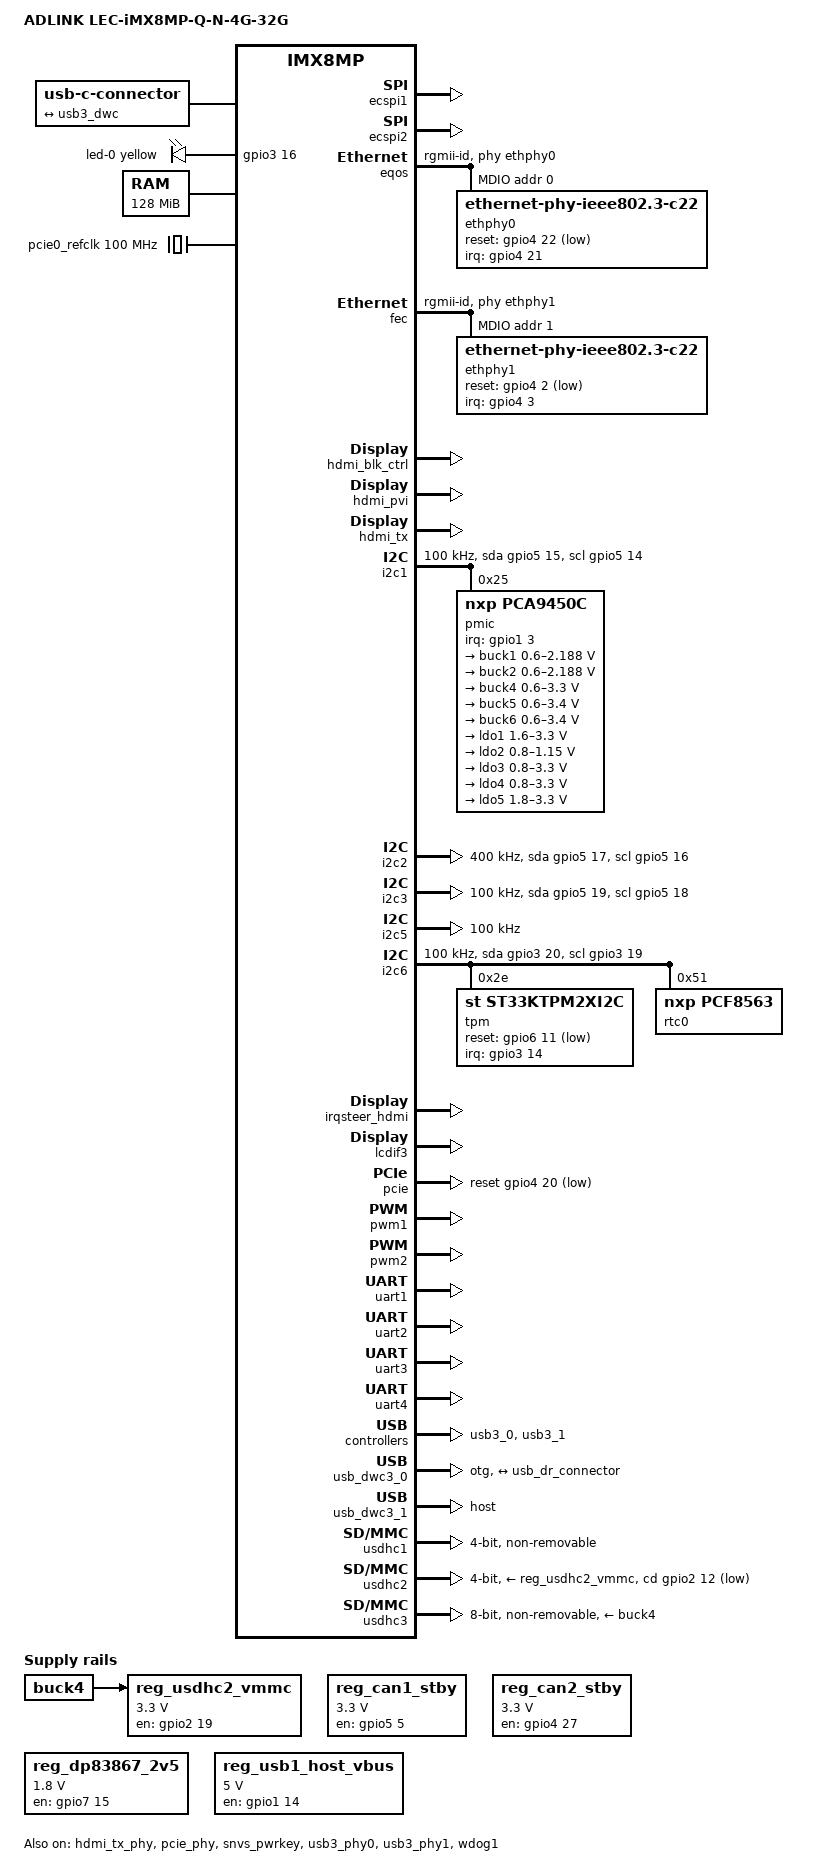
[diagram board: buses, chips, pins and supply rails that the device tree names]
// SPDX-License-Identifier: GPL-2.0
/*
 * Copyright (C) 2024 Heiko Schocher <hs@denx.de>
 */

#include <dt-bindings/leds/common.h>
#include <dt-bindings/net/ti-dp83867.h>
#include <dt-bindings/phy/phy-imx8-pcie.h>
#include <dt-bindings/pwm/pwm.h>
#include "imx8mp.dtsi"

/ {
	model = "ADLINK LEC-iMX8MP-Q-N-4G-32G";
	compatible = "abb,imx8mp-aristanetos3-som", "fsl,imx8mp";

	aliases {
		ethernet0 = &eqos;
		ethernet1 = &fec;
		mmc0 = &usdhc3;	/* eMMC */
		mmc1 = &usdhc2;	/* MicroSD */
	};

	chosen {
		bootargs = "console=ttymxc1,115200 earlycon=ec_imx6q,0x30890000,115200";
		stdout-path = &uart2;
	};

	connector {
		compatible = "usb-c-connector";
		label = "USB-C";

		port {
			usb_dr_connector: endpoint {
				remote-endpoint = <&usb3_dwc>;
			};
		};
	};

	gpio-leds {
		compatible = "gpio-leds";
		pinctrl-names = "default";
		pinctrl-0 = <&pinctrl_gpio_led>;

		led-0 {
			function = LED_FUNCTION_STATUS;
			color = <LED_COLOR_ID_YELLOW>;
			function-enumerator = <0>;
			gpios = <&gpio3 16 GPIO_ACTIVE_HIGH>;
			default-state = "on";
		};
	};

	lvds_backlight: backlight {
		compatible = "pwm-backlight";
		pinctrl-names = "default";
		pinctrl-0 = <&pinctrl_lvds_bklt_en>;
		pwms = <&pwm2 0 50000 0>;
		enable-gpios = <&gpio1 10 GPIO_ACTIVE_HIGH>;
		brightness-levels = <0 100>;
		num-interpolated-steps = <100>;
		default-brightness-level = <80>;
		status = "disabled";
	};

	memory@40000000 {
		device_type = "memory";
		/* Memory size 512 MiB..8 GiB will be filled by U-Boot */
		reg = <0x0 0x40000000 0 0x08000000>;
	};

	pcie0_refclk: clock-pcie-ref {
		compatible = "fixed-clock";
		#clock-cells = <0>;
		clock-frequency = <100000000>;
	};

	reg_can1_stby: regulator-can1-stby {
		compatible = "regulator-fixed";
		pinctrl-names = "default";
		pinctrl-0 = <&pinctrl_flexcan1_reg>;
		gpio = <&gpio5 5 GPIO_ACTIVE_HIGH>;
		enable-active-high;
		regulator-max-microvolt = <3300000>;
		regulator-min-microvolt = <3300000>;
		regulator-name = "can1-stby";
	};

	reg_can2_stby: regulator-can2-stby {
		compatible = "regulator-fixed";
		pinctrl-names = "default";
		pinctrl-0 = <&pinctrl_flexcan2_reg>;
		enable-active-high;
		gpio = <&gpio4 27 GPIO_ACTIVE_HIGH>;
		regulator-max-microvolt = <3300000>;
		regulator-min-microvolt = <3300000>;
		regulator-name = "can2-stby";
	};

	reg_dp83867_2v5: regulator-enet {
		compatible = "regulator-fixed";
		enable-active-high;
		gpio = <&gpio7 15 GPIO_ACTIVE_HIGH>;
		regulator-max-microvolt = <1800000>;
		regulator-min-microvolt = <1800000>;
		regulator-name = "enet_2v5";
		regulator-boot-on;
		regulator-always-on;
	};

	reg_usb1_host_vbus: regulator-usb1-vbus {
		compatible = "regulator-fixed";
		pinctrl-names = "default";
		pinctrl-0 = <&pinctrl_usb1_vbus>;
		enable-active-high;
		gpio = <&gpio1 14 GPIO_ACTIVE_HIGH>;
		regulator-max-microvolt = <5000000>;
		regulator-min-microvolt = <5000000>;
		regulator-name = "usb1_host_vbus";
		regulator-always-on;
	};

	reg_usdhc2_vmmc: regulator-usdhc2-vmmc {
		compatible = "regulator-fixed";
		pinctrl-names = "default";
		pinctrl-0 = <&pinctrl_usdhc2_vmmc>;
		enable-active-high;
		gpio = <&gpio2 19 GPIO_ACTIVE_HIGH>; /* SD2_RESET */
		regulator-max-microvolt = <3300000>;
		regulator-min-microvolt = <3300000>;
		regulator-name = "VDD_3V3_SD";
		off-on-delay-us = <12000>;
		startup-delay-us = <100>;
		vin-supply = <&buck4>;
	};
};

&A53_0 {
	cpu-supply = <&buck2>;
};

&A53_1 {
	cpu-supply = <&buck2>;
};

&A53_2 {
	cpu-supply = <&buck2>;
};

&A53_3 {
	cpu-supply = <&buck2>;
};

&clk {
	clocks = <&osc_32k>, <&osc_24m>, <&clk_ext1>, <&clk_ext2>,
		 <&clk_ext3>, <&clk_ext4>;
	clock-names = "osc_32k", "osc_24m", "clk_ext1", "clk_ext2",
		      "clk_ext3", "clk_ext4";
	assigned-clocks = <&clk IMX8MP_CLK_A53_SRC>,
			  <&clk IMX8MP_CLK_A53_CORE>,
			  <&clk IMX8MP_CLK_NOC>,
			  <&clk IMX8MP_CLK_NOC_IO>,
			  <&clk IMX8MP_CLK_GIC>,
			  <&clk IMX8MP_CLK_AUDIO_AHB>,
			  <&clk IMX8MP_CLK_AUDIO_AXI_SRC>,
			  <&clk IMX8MP_AUDIO_PLL1>,
			  <&clk IMX8MP_AUDIO_PLL2>,
			  <&clk IMX8MP_VIDEO_PLL1>;
};

&ecspi1 {
	pinctrl-names = "default";
	pinctrl-0 = <&pinctrl_ecspi1 &pinctrl_ecspi1_cs2>;
	cs-gpios = <&gpio5 9 GPIO_ACTIVE_LOW &gpio1 6 GPIO_ACTIVE_LOW>;
	status = "okay";
};

&ecspi2 {
	pinctrl-names = "default";
	pinctrl-0 = <&pinctrl_ecspi2>;
	cs-gpios = <&gpio5 13 GPIO_ACTIVE_LOW>;
	status = "okay";
};

/* eth0 */
&eqos {
	pinctrl-names = "default";
	pinctrl-0 = <&pinctrl_eqos_rgmii>;
	phy-handle = <&ethphy0>;
	phy-mode = "rgmii-id";
	snps,force_thresh_dma_mode;
	snps,mtl-tx-config = <&mtl_tx_setup>;
	snps,mtl-rx-config = <&mtl_rx_setup>;
	status = "okay";

	mdio {
		compatible = "snps,dwmac-mdio";
		#address-cells = <1>;
		#size-cells = <0>;

		ethphy0: eqos-ethernet-phy@0 {
			compatible = "ethernet-phy-ieee802.3-c22";
			reg = <0>;
			ti,rx-internal-delay = <DP83867_RGMIIDCTL_1_75_NS>;
			ti,tx-internal-delay = <DP83867_RGMIIDCTL_1_75_NS>;
			ti,fifo-depth = <DP83867_PHYCR_FIFO_DEPTH_4_B_NIB>;
			ti,min-output-impedance;
			ti,dp83867-rxctrl-strap-quirk;
			interrupt-parent = <&gpio4>;
			interrupts = <21 IRQ_TYPE_EDGE_FALLING>;
			reset-gpios = <&gpio4 22 GPIO_ACTIVE_LOW>;
		};
	};

	mtl_tx_setup: tx-queues-config {
		snps,tx-queues-to-use = <5>;

		queue0 {
			snps,dcb-algorithm;
			snps,priority = <0x1>;
		};

		queue1 {
			snps,dcb-algorithm;
			snps,priority = <0x2>;
		};

		queue2 {
			snps,dcb-algorithm;
			snps,priority = <0x4>;
		};

		queue3 {
			snps,dcb-algorithm;
			snps,priority = <0x8>;
		};

		queue4 {
			snps,dcb-algorithm;
			snps,priority = <0xf0>;
		};
	};

	mtl_rx_setup: rx-queues-config {
		snps,rx-queues-to-use = <5>;

		queue0 {
			snps,dcb-algorithm;
			snps,priority = <0x1>;
			snps,map-to-dma-channel = <0>;
		};

		queue1 {
			snps,dcb-algorithm;
			snps,priority = <0x2>;
			snps,map-to-dma-channel = <1>;
		};

		queue2 {
			snps,dcb-algorithm;
			snps,priority = <0x4>;
			snps,map-to-dma-channel = <2>;
		};

		queue3 {
			snps,dcb-algorithm;
			snps,priority = <0x8>;
			snps,map-to-dma-channel = <3>;
		};

		queue4 {
			snps,dcb-algorithm;
			snps,priority = <0xf0>;
			snps,map-to-dma-channel = <4>;
		};
	};
};

/* eth1 */
&fec {
	pinctrl-names = "default";
	pinctrl-0 = <&pinctrl_fec_rgmii>;
	phy-handle = <&ethphy1>;
	phy-mode = "rgmii-id";
	fsl,magic-packet;
	status = "okay";

	mdio {
		#address-cells = <1>;
		#size-cells = <0>;

		ethphy1: ethernet-phy@1 {
			compatible = "ethernet-phy-ieee802.3-c22";
			reg = <1>;
			interrupt-parent = <&gpio4>;
			interrupts = <3 IRQ_TYPE_EDGE_FALLING>;
			reset-gpio = <&gpio4 2 GPIO_ACTIVE_LOW>;
			ti,rx-internal-delay = <DP83867_RGMIIDCTL_1_75_NS>;
			ti,tx-internal-delay = <DP83867_RGMIIDCTL_1_75_NS>;
			ti,fifo-depth = <DP83867_PHYCR_FIFO_DEPTH_4_B_NIB>;
			ti,min-output-impedance;
			ti,dp83867-rxctrl-strap-quirk;
			eee-broken-1000t;
		};
	};
};

&flexcan1 {
	pinctrl-names = "default";
	pinctrl-0 = <&pinctrl_flexcan1>;
	xceiver-supply = <&reg_can1_stby>;
	status = "disabled";
};

&flexcan2 {
	pinctrl-names = "default";
	pinctrl-0 = <&pinctrl_flexcan2>;
	xceiver-supply = <&reg_can1_stby>;
	status = "disabled";
};

&hdmi_blk_ctrl {
	status = "okay";
};

&hdmi_pvi {
	status = "okay";
};

&hdmi_tx {
	pinctrl-names = "default";
	pinctrl-0 = <&pinctrl_hdmi>;
	status = "okay";
};

&hdmi_tx_phy {
	status = "okay";
};

&i2c1 {
	clock-frequency = <100000>;
	pinctrl-names = "default", "gpio";
	pinctrl-0 = <&pinctrl_i2c1>;
	pinctrl-1 = <&pinctrl_i2c1_gpio>;
	scl-gpios = <&gpio5 14 GPIO_ACTIVE_HIGH>;
	sda-gpios = <&gpio5 15 GPIO_ACTIVE_HIGH>;
	status = "okay";

	pmic: pmic@25 {
		compatible = "nxp,pca9450c";
		reg = <0x25>;
		pinctrl-names = "default";
		pinctrl-0 = <&pinctrl_pmic>;
		interrupt-parent = <&gpio1>;
		interrupts = <3 IRQ_TYPE_LEVEL_LOW>;

		/*
		 * i.MX 8M Plus Data Sheet for Consumer Products
		 * 3.1.4 Operating ranges
		 * MIMX8ML8CVNKZAB
		 */
		regulators {
			buck1: BUCK1 {	/* VDD_SOC (dual-phase with BUCK3) */
				regulator-name = "buck1";
				regulator-min-microvolt = <600000>;
				regulator-max-microvolt = <2187500>;
				regulator-ramp-delay = <3125>;
				regulator-always-on;
				regulator-boot-on;
			};

			buck2: BUCK2 {	/* VDD_ARM */
				regulator-name = "buck2";
				nxp,dvs-run-voltage = <950000>;
				nxp,dvs-standby-voltage = <850000>;
				regulator-min-microvolt = <600000>;
				regulator-max-microvolt = <2187500>;
				regulator-ramp-delay = <3125>;
				regulator-always-on;
				regulator-boot-on;
			};

			buck4: BUCK4 {	/* VDD_3V3 */
				regulator-name = "buck4";
				regulator-min-microvolt = <600000>;
				regulator-max-microvolt = <3300000>;
				regulator-always-on;
				regulator-boot-on;
			};

			buck5: BUCK5 {	/* VDD_1V8 */
				regulator-name = "buck5";
				regulator-min-microvolt = <600000>;
				regulator-max-microvolt = <3400000>;
				regulator-always-on;
				regulator-boot-on;
			};

			buck6: BUCK6 {	/* NVCC_DRAM_1V1 */
				regulator-name = "buck6";
				regulator-min-microvolt = <600000>;
				regulator-max-microvolt = <3400000>;
				regulator-always-on;
				regulator-boot-on;
			};

			ldo1: LDO1 {	/* NVCC_SNVS_1V8 */
				regulator-name = "ldo1";
				regulator-min-microvolt = <1600000>;
				regulator-max-microvolt = <3300000>;
				regulator-always-on;
				regulator-boot-on;
			};

			ldo2: LDO2 {	/* VDDA_1V8 */
				regulator-name = "ldo2";
				regulator-min-microvolt = <800000>;
				regulator-max-microvolt = <1150000>;
				regulator-always-on;
				regulator-boot-on;
			};

			ldo3: LDO3 {	/* VDDA_1V8 */
				regulator-name = "ldo3";
				regulator-min-microvolt = <800000>;
				regulator-max-microvolt = <3300000>;
				regulator-always-on;
				regulator-boot-on;
			};

			ldo4: LDO4 {	/* PMIC_LDO4 */
				regulator-name = "ldo4";
				regulator-min-microvolt = <800000>;
				regulator-max-microvolt = <3300000>;
				regulator-always-on;
				regulator-boot-on;
			};

			ldo5: LDO5 {	/* NVCC_SD2 */
				regulator-name = "ldo5";
				regulator-min-microvolt = <1800000>;
				regulator-max-microvolt = <3300000>;
			};
		};
	};
};

&i2c2 {
	clock-frequency = <400000>;
	pinctrl-names = "default", "gpio";
	pinctrl-0 = <&pinctrl_i2c2>;
	pinctrl-1 = <&pinctrl_i2c2_gpio>;
	scl-gpios = <&gpio5 16 GPIO_ACTIVE_HIGH>;
	sda-gpios = <&gpio5 17 GPIO_ACTIVE_HIGH>;
	status = "okay";
};

&i2c3 {
	clock-frequency = <100000>;
	pinctrl-names = "default", "gpio";
	pinctrl-0 = <&pinctrl_i2c3>;
	pinctrl-1 = <&pinctrl_i2c3_gpio>;
	scl-gpios = <&gpio5 18 GPIO_ACTIVE_HIGH>;
	sda-gpios = <&gpio5 19 GPIO_ACTIVE_HIGH>;
	status = "okay";
};

&i2c5 {
	#address-cells = <1>;
	clock-frequency = <100000>;
	pinctrl-names = "default";
	pinctrl-0 = <&pinctrl_i2c5>;
	status = "okay";
};

&i2c6 {
	clock-frequency = <100000>;
	pinctrl-names = "default", "gpio";
	pinctrl-0 = <&pinctrl_i2c6>;
	pinctrl-1 = <&pinctrl_i2c6_gpio>;
	scl-gpios = <&gpio3 19 GPIO_ACTIVE_HIGH>;
	sda-gpios = <&gpio3 20 GPIO_ACTIVE_HIGH>;
	status = "okay";

	/* TPM - ST33TPHF2XI2C U2301 */
	tpm: tpm@2e {
		pinctrl-names = "default";
		pinctrl-0 = <&pinctrl_tpm_irq>;
		compatible = "st,st33ktpm2xi2c", "tcg,tpm-tis-i2c";
		reg = <0x2e>;

		label = "tpm";
		interrupt-parent = <&gpio3>;
		interrupts = <14 IRQ_TYPE_LEVEL_LOW>;
		reset-gpios = <&gpio6 11 GPIO_ACTIVE_LOW>;
		status = "okay";
	};

	/* SX1509(0) U2605 */
	gpio6: pinctrl@3f {
		compatible = "semtech,sx1509q";
		reg = <0x3f>;
		#gpio-cells = <2>;
		#interrupt-cells = <2>;
		semtech,probe-reset;
		gpio-controller;
		interrupt-controller;
		interrupt-parent = <&gpio1>;
		interrupts = <12 IRQ_TYPE_EDGE_FALLING>;
	};

	/* RTC U2607 */
	rtc0: rtc@51 {
		compatible = "nxp,pcf8563";
		reg = <0x51>;
		#clock-cells = <0>;
	};

	/* SX1509(1) U2606 */
	gpio7: pinctrl@70 {
		compatible = "semtech,sx1509q";
		reg = <0x70>;
		#gpio-cells = <2>;
		#interrupt-cells = <2>;
		semtech,probe-reset;
		gpio-controller;
		interrupt-controller;
		interrupt-parent = <&gpio4>;
		interrupts = <19 IRQ_TYPE_EDGE_FALLING>;

		gpio6-cfg {
			pins = "gpio6";
			output-high;
		};

		gpio7-cfg {
			pins = "gpio7";
			output-high;
		};
	};
};

&irqsteer_hdmi {
	status = "okay";
};

&lcdif1 {
	status = "disabled";
};

&lcdif2 {
	status = "disabled";
};

/* HDMI */
&lcdif3 {
	status = "okay";

};

&lvds_bridge {
	status = "disabled";
};

&mipi_dsi {
	status = "disabled";
};

&pcie {
	pinctrl-names = "default";
	pinctrl-0 = <&pinctrl_pcie>;
	reset-gpio = <&gpio4 20 GPIO_ACTIVE_LOW>;
	fsl,tx-deemph-gen1 = <0x1f>;
	fsl,max-link-speed = <3>;
	status = "okay";
};

&pcie_phy {
	fsl,refclk-pad-mode = <IMX8_PCIE_REFCLK_PAD_INPUT>;
	clocks = <&pcie0_refclk>;
	clock-names = "ref";
	status = "okay";
};

&pwm1 {
	pinctrl-names = "default";
	pinctrl-0 = <&pinctrl_pwm1>;
	status = "okay";
};

&pwm2 {
	pinctrl-names = "default";
	pinctrl-0 = <&pinctrl_pwm2>;
	#pwm-cells = <3>;
	status = "okay";
};

&snvs_pwrkey {
	status = "okay";
};

&uart1 {
	pinctrl-names = "default";
	pinctrl-0 = <&pinctrl_uart1>;
	status = "okay";
};

&uart2 {
	pinctrl-names = "default";
	pinctrl-0 = <&pinctrl_uart2>;
	status = "okay";
};

&uart3 {
	pinctrl-names = "default";
	pinctrl-0 = <&pinctrl_uart3>;
	status = "okay";
};

&uart4 {
	pinctrl-names = "default";
	pinctrl-0 = <&pinctrl_uart4>;
	status = "okay";
};

&usb3_phy0 {
	status = "okay";
};

&usb3_0 {
	status = "okay";
};

&usb_dwc3_0 {
	adp-disable;
	hnp-disable;
	srp-disable;
	dr_mode = "otg";
	usb-role-switch;
	role-switch-default-mode = "peripheral";
	status = "okay";

	port {
		usb3_dwc: endpoint {
			remote-endpoint = <&usb_dr_connector>;
		};
	};
};

&usb3_phy1 {
	status = "okay";
};

&usb3_1 {
	status = "okay";
};

&usb_dwc3_1 {
	dr_mode = "host";
	status = "okay";
};

&usdhc1 {
	pinctrl-names = "default", "state_100mhz", "state_200mhz";
	pinctrl-0 = <&pinctrl_usdhc1>;
	pinctrl-1 = <&pinctrl_usdhc1_100mhz>;
	pinctrl-2 = <&pinctrl_usdhc1_200mhz>;
	bus-width = <4>;
	non-removable;
	status = "okay";
};

/* SD slot */
&usdhc2 {
	pinctrl-names = "default", "state_100mhz", "state_200mhz";
	pinctrl-0 = <&pinctrl_usdhc2>, <&pinctrl_usdhc2_gpio>;
	pinctrl-1 = <&pinctrl_usdhc2_100mhz>, <&pinctrl_usdhc2_gpio>;
	pinctrl-2 = <&pinctrl_usdhc2_200mhz>, <&pinctrl_usdhc2_gpio>;
	cd-gpios = <&gpio2 12 GPIO_ACTIVE_LOW>;
	vmmc-supply = <&reg_usdhc2_vmmc>;
	bus-width = <4>;
	status = "okay";
};

/* eMMC */
&usdhc3 {
	pinctrl-names = "default", "state_100mhz", "state_200mhz";
	pinctrl-0 = <&pinctrl_usdhc3>;
	pinctrl-1 = <&pinctrl_usdhc3_100mhz>;
	pinctrl-2 = <&pinctrl_usdhc3_200mhz>;
	vmmc-supply = <&buck4>;
	vqmmc-supply = <&buck5>;
	bus-width = <8>;
	non-removable;
	status = "okay";
};

&wdog1 {
	pinctrl-names = "default";
	pinctrl-0 = <&pinctrl_wdog>;
	fsl,ext-reset-output;
	status = "okay";
};

&iomuxc {
	pinctrl_ecspi1: aristainetos3-ecspi1-grp {
		fsl,pins = <
			MX8MP_IOMUXC_ECSPI1_SCLK__ECSPI1_SCLK		0x82
			MX8MP_IOMUXC_ECSPI1_MOSI__ECSPI1_MOSI		0x82
			MX8MP_IOMUXC_ECSPI1_MISO__ECSPI1_MISO		0x82
			MX8MP_IOMUXC_ECSPI1_SS0__GPIO5_IO09		0x40000
		>;
	};

	pinctrl_ecspi1_cs2: aristainetos3-ecspi1-cs2-grp {
		fsl,pins = <
			MX8MP_IOMUXC_GPIO1_IO06__GPIO1_IO06		0x40000
		>;
	};

	pinctrl_ecspi2: aristainetos3-ecspi2-grp {
		fsl,pins = <
			MX8MP_IOMUXC_ECSPI2_SCLK__ECSPI2_SCLK		0x82
			MX8MP_IOMUXC_ECSPI2_MOSI__ECSPI2_MOSI		0x82
			MX8MP_IOMUXC_ECSPI2_MISO__ECSPI2_MISO		0x82
			MX8MP_IOMUXC_ECSPI2_SS0__GPIO5_IO13		0x40000
		>;
	};

	pinctrl_eqos_rgmii: aristainetos3-eqos-rgmii-grp {
		fsl,pins = <
			MX8MP_IOMUXC_ENET_MDC__ENET_QOS_MDC				0x3
			MX8MP_IOMUXC_ENET_MDIO__ENET_QOS_MDIO				0x3
			MX8MP_IOMUXC_ENET_RD0__ENET_QOS_RGMII_RD0			0x91
			MX8MP_IOMUXC_ENET_RD1__ENET_QOS_RGMII_RD1			0x91
			MX8MP_IOMUXC_ENET_RD2__ENET_QOS_RGMII_RD2			0x91
			MX8MP_IOMUXC_ENET_RD3__ENET_QOS_RGMII_RD3			0x91
			MX8MP_IOMUXC_ENET_RXC__CCM_ENET_QOS_CLOCK_GENERATE_RX_CLK	0x91
			MX8MP_IOMUXC_ENET_RX_CTL__ENET_QOS_RGMII_RX_CTL			0x91
			MX8MP_IOMUXC_ENET_TD0__ENET_QOS_RGMII_TD0			0x1f
			MX8MP_IOMUXC_ENET_TD1__ENET_QOS_RGMII_TD1			0x1f
			MX8MP_IOMUXC_ENET_TD2__ENET_QOS_RGMII_TD2			0x1f
			MX8MP_IOMUXC_ENET_TD3__ENET_QOS_RGMII_TD3			0x1f
			MX8MP_IOMUXC_ENET_TX_CTL__ENET_QOS_RGMII_TX_CTL			0x1f
			MX8MP_IOMUXC_ENET_TXC__CCM_ENET_QOS_CLOCK_GENERATE_TX_CLK	0x1f
			MX8MP_IOMUXC_SAI2_RXC__GPIO4_IO22				0x19
		>;
	};

	pinctrl_fec_rgmii: aristainetos3-fec-rgmii-grp {
		fsl,pins = <
			MX8MP_IOMUXC_SAI1_RXD2__ENET1_MDC		0x3
			MX8MP_IOMUXC_SAI1_RXD3__ENET1_MDIO		0x3
			MX8MP_IOMUXC_SAI1_RXD4__ENET1_RGMII_RD0		0x91
			MX8MP_IOMUXC_SAI1_RXD5__ENET1_RGMII_RD1		0x91
			MX8MP_IOMUXC_SAI1_RXD6__ENET1_RGMII_RD2		0x91
			MX8MP_IOMUXC_SAI1_RXD7__ENET1_RGMII_RD3		0x91
			MX8MP_IOMUXC_SAI1_TXC__ENET1_RGMII_RXC		0x91
			MX8MP_IOMUXC_SAI1_TXFS__ENET1_RGMII_RX_CTL	0x91
			MX8MP_IOMUXC_SAI1_TXD0__ENET1_RGMII_TD0		0x1f
			MX8MP_IOMUXC_SAI1_TXD1__ENET1_RGMII_TD1		0x1f
			MX8MP_IOMUXC_SAI1_TXD2__ENET1_RGMII_TD2		0x1f
			MX8MP_IOMUXC_SAI1_TXD3__ENET1_RGMII_TD3		0x1f
			MX8MP_IOMUXC_SAI1_TXD4__ENET1_RGMII_TX_CTL	0x1f
			MX8MP_IOMUXC_SAI1_TXD5__ENET1_RGMII_TXC		0x1f
			MX8MP_IOMUXC_SAI1_RXD0__GPIO4_IO02		0x19
		>;
	};

	pinctrl_flexcan1: aristainetos3-flexcan1-grp {
		fsl,pins = <
			MX8MP_IOMUXC_SPDIF_RX__CAN1_RX			0x154
			MX8MP_IOMUXC_SPDIF_TX__CAN1_TX			0x154
		>;
	};

	pinctrl_flexcan1_reg: aristainetos3-flexcan1-reg-grp {
		fsl,pins = <
			MX8MP_IOMUXC_SPDIF_EXT_CLK__GPIO5_IO05  0x154
		>;
	};

	pinctrl_flexcan2: aristainetos3-flexcan2-grp {
		fsl,pins = <
			MX8MP_IOMUXC_SAI5_MCLK__CAN2_RX         0x154
			MX8MP_IOMUXC_SAI5_RXD3__CAN2_TX         0x154
		>;
	};

	pinctrl_flexcan2_reg: aristainetos3-flexcan2-reg-grp {
		fsl,pins = <
			MX8MP_IOMUXC_SAI2_MCLK__GPIO4_IO27      0x154
		>;
	};

	pinctrl_gpio3_hog: aristainetos3-gpio3-hog-grp {
		fsl,pins = <
			MX8MP_IOMUXC_SAI5_RXD2__GPIO3_IO23	0xd6
		>;
	};

	pinctrl_gpio_led: aristainetos3-gpio-led-grp {
		fsl,pins = <
			MX8MP_IOMUXC_NAND_READY_B__GPIO3_IO16	0x19
		>;
	};

	pinctrl_gpio_proton2s: aristainetos3-gpio-proton2s-grp {
		fsl,pins = <
			MX8MP_IOMUXC_GPIO1_IO07__GPIO1_IO07	0x19
		>;
	};

	pinctrl_hdmi: aristainetos3-hdmi-grp {
		fsl,pins = <
			MX8MP_IOMUXC_HDMI_DDC_SCL__HDMIMIX_HDMI_SCL	0x400001c3
			MX8MP_IOMUXC_HDMI_DDC_SDA__HDMIMIX_HDMI_SDA	0x400001c3
			MX8MP_IOMUXC_HDMI_HPD__HDMIMIX_HDMI_HPD		0x40000019
			MX8MP_IOMUXC_HDMI_CEC__HDMIMIX_HDMI_CEC		0x40000019
		>;
	};

	pinctrl_i2c1: aristainetos3-i2c1-grp {
		fsl,pins = <
			MX8MP_IOMUXC_I2C1_SCL__I2C1_SCL		0x400001c3
			MX8MP_IOMUXC_I2C1_SDA__I2C1_SDA		0x400001c3
		>;
	};

	pinctrl_i2c1_gpio: aristainetos3-i2c1-gpio-grp {
		fsl,pins = <
			MX8MP_IOMUXC_I2C1_SCL__GPIO5_IO14	0x1c3
			MX8MP_IOMUXC_I2C1_SDA__GPIO5_IO15	0x1c3
		>;
	};

	pinctrl_i2c2: aristainetos3-i2c2-grp {
		fsl,pins = <
			MX8MP_IOMUXC_I2C2_SCL__I2C2_SCL		0x400001c3
			MX8MP_IOMUXC_I2C2_SDA__I2C2_SDA		0x400001c3
		>;
	};

	pinctrl_i2c2_gpio: aristainetos3-i2c2-gpio-grp {
		fsl,pins = <
			MX8MP_IOMUXC_I2C2_SCL__GPIO5_IO16	0x1c3
			MX8MP_IOMUXC_I2C2_SDA__GPIO5_IO17	0x1c3
		>;
	};

	pinctrl_i2c3: aristainetos3-i2c3-grp {
		fsl,pins = <
			MX8MP_IOMUXC_I2C3_SCL__I2C3_SCL		0x400001c3
			MX8MP_IOMUXC_I2C3_SDA__I2C3_SDA		0x400001c3
		>;
	};

	pinctrl_i2c3_gpio: aristainetos3-i2c3-gpio-grp {
		fsl,pins = <
			MX8MP_IOMUXC_I2C3_SCL__GPIO5_IO18	0x1c3
			MX8MP_IOMUXC_I2C3_SDA__GPIO5_IO19	0x1c3
		>;
	};

	pinctrl_i2c5: aristainetos3-i2c5-grp {
		fsl,pins = <
			MX8MP_IOMUXC_SAI5_RXD0__I2C5_SCL	0x400001c3
			MX8MP_IOMUXC_SAI5_MCLK__I2C5_SDA	0x400001c3
		>;
	};

	pinctrl_i2c6: aristainetos3-i2c6-grp {
		fsl,pins = <
			MX8MP_IOMUXC_SAI5_RXFS__I2C6_SCL	0x400001c3
			MX8MP_IOMUXC_SAI5_RXC__I2C6_SDA		0x400001c3
		>;
	};

	pinctrl_i2c6_gpio: aristainetos3-i2c6-gpio-grp {
		fsl,pins = <
			MX8MP_IOMUXC_SAI5_RXFS__GPIO3_IO19	0x1c3
			MX8MP_IOMUXC_SAI5_RXC__GPIO3_IO20	0x1c3
		>;
	};

	pinctrl_lcd0_vcc_en: aristainetos3-lcd0-vcc-en-grp {
		fsl,pins = <
			MX8MP_IOMUXC_GPIO1_IO13__GPIO1_IO13	0xd6
		>;
	};

	pinctrl_lvds_bklt_en: aristainetos3-lvds-bklt-en-grp {
		fsl,pins = <
			MX8MP_IOMUXC_GPIO1_IO10__GPIO1_IO10	0xd6
		>;
	};

	pinctrl_pcie: aristainetos3-pcie-grp {
		fsl,pins = <
			MX8MP_IOMUXC_I2C4_SCL__PCIE_CLKREQ_B	0x61
			MX8MP_IOMUXC_SAI1_MCLK__GPIO4_IO20	0x41
		>;
	};

	pinctrl_pmic: aristainetos3-pmic-grp {
		fsl,pins = <
			MX8MP_IOMUXC_GPIO1_IO03__GPIO1_IO03	0x41
		>;
	};

	pinctrl_pwm1: aristainetos3-pwm1-grp {
		fsl,pins = <
			MX8MP_IOMUXC_GPIO1_IO01__PWM1_OUT	0x116
		>;
	};

	pinctrl_pwm2: aristainetos3-pwm2-grp {
		fsl,pins = <
			MX8MP_IOMUXC_GPIO1_IO11__PWM2_OUT	0x116
		>;
	};

	pinctrl_tpm_irq: aristainetos3-tpm-irq-grp {
		fsl,pins = <
			MX8MP_IOMUXC_NAND_DQS__GPIO3_IO14	0xd6
		>;
	};

	pinctrl_uart1: aristainetos3-uart1-grp {
		fsl,pins = <
			MX8MP_IOMUXC_UART1_RXD__UART1_DCE_RX	0x140
			MX8MP_IOMUXC_UART1_TXD__UART1_DCE_TX	0x140
		>;
	};

	pinctrl_uart2: aristainetos3-uart2-grp {
		fsl,pins = <
			MX8MP_IOMUXC_UART2_RXD__UART2_DCE_RX	0x140
			MX8MP_IOMUXC_UART2_TXD__UART2_DCE_TX	0x140
			MX8MP_IOMUXC_SD1_DATA4__GPIO2_IO06	0x140
			MX8MP_IOMUXC_SD1_DATA5__UART2_DCE_CTS	0x140
		>;
	};

	pinctrl_uart3: aristainetos3-uart3-grp {
		fsl,pins = <
			MX8MP_IOMUXC_NAND_ALE__UART3_DCE_RX	0x140
			MX8MP_IOMUXC_NAND_CE0_B__UART3_DCE_TX	0x140
		>;
	};

	pinctrl_uart4: aristainetos3-uart4-grp {
		fsl,pins = <
			MX8MP_IOMUXC_UART4_RXD__UART4_DCE_RX    0x140
			MX8MP_IOMUXC_UART4_TXD__UART4_DCE_TX    0x140
			MX8MP_IOMUXC_NAND_DATA03__GPIO3_IO09	0x140
			MX8MP_IOMUXC_NAND_DATA02__UART4_DCE_CTS 0x140
		>;
	};

	pinctrl_usb1_vbus: aristainetos3-usb1-grp {
		fsl,pins = <
			MX8MP_IOMUXC_GPIO1_IO14__GPIO1_IO14	0x19
		>;
	};

	pinctrl_usdhc1: aristainetos3-usdhc1-grp {
		fsl,pins = <
			MX8MP_IOMUXC_SD1_CLK__USDHC1_CLK	0x190
			MX8MP_IOMUXC_SD1_CMD__USDHC1_CMD	0x1d0
			MX8MP_IOMUXC_SD1_DATA0__USDHC1_DATA0	0x1d0
			MX8MP_IOMUXC_SD1_DATA1__USDHC1_DATA1	0x1d0
			MX8MP_IOMUXC_SD1_DATA2__USDHC1_DATA2	0x1d0
			MX8MP_IOMUXC_SD1_DATA3__USDHC1_DATA3	0x1d0
		>;
	};

	pinctrl_usdhc1_100mhz: aristainetos3-usdhc1-100mhz-grp {
		fsl,pins = <
			MX8MP_IOMUXC_SD1_CLK__USDHC1_CLK	0x194
			MX8MP_IOMUXC_SD1_CMD__USDHC1_CMD	0x1d4
			MX8MP_IOMUXC_SD1_DATA0__USDHC1_DATA0	0x1d4
			MX8MP_IOMUXC_SD1_DATA1__USDHC1_DATA1	0x1d4
			MX8MP_IOMUXC_SD1_DATA2__USDHC1_DATA2	0x1d4
			MX8MP_IOMUXC_SD1_DATA3__USDHC1_DATA3	0x1d4
		>;
	};

	pinctrl_usdhc1_200mhz: aristainetos3-usdhc1-200mhz-grp {
		fsl,pins = <
			MX8MP_IOMUXC_SD1_CLK__USDHC1_CLK	0x196
			MX8MP_IOMUXC_SD1_CMD__USDHC1_CMD	0x1d6
			MX8MP_IOMUXC_SD1_DATA0__USDHC1_DATA0	0x1d6
			MX8MP_IOMUXC_SD1_DATA1__USDHC1_DATA1	0x1d6
			MX8MP_IOMUXC_SD1_DATA2__USDHC1_DATA2	0x1d6
			MX8MP_IOMUXC_SD1_DATA3__USDHC1_DATA3	0x1d6
		>;
	};

	pinctrl_usdhc2: aristainetos3-usdhc2-grp {
		fsl,pins = <
			MX8MP_IOMUXC_SD2_CLK__USDHC2_CLK	0x190
			MX8MP_IOMUXC_SD2_CMD__USDHC2_CMD	0x1d0
			MX8MP_IOMUXC_SD2_DATA0__USDHC2_DATA0	0x1d0
			MX8MP_IOMUXC_SD2_DATA1__USDHC2_DATA1	0x1d0
			MX8MP_IOMUXC_SD2_DATA2__USDHC2_DATA2	0x1d0
			MX8MP_IOMUXC_SD2_DATA3__USDHC2_DATA3	0x1d0
			MX8MP_IOMUXC_GPIO1_IO04__USDHC2_VSELECT	0xc1

		>;
	};

	pinctrl_usdhc2_100mhz: aristainetos3-usdhc2-100mhz-grp {
		fsl,pins = <
			MX8MP_IOMUXC_SD2_CLK__USDHC2_CLK	0x194
			MX8MP_IOMUXC_SD2_CMD__USDHC2_CMD	0x1d4
			MX8MP_IOMUXC_SD2_DATA0__USDHC2_DATA0	0x1d4
			MX8MP_IOMUXC_SD2_DATA1__USDHC2_DATA1	0x1d4
			MX8MP_IOMUXC_SD2_DATA2__USDHC2_DATA2	0x1d4
			MX8MP_IOMUXC_SD2_DATA3__USDHC2_DATA3	0x1d4
			MX8MP_IOMUXC_GPIO1_IO04__USDHC2_VSELECT 0xc1
		>;
	};

	pinctrl_usdhc2_200mhz: aristainetos3-usdhc2-200mhz-grp {
		fsl,pins = <
			MX8MP_IOMUXC_SD2_CLK__USDHC2_CLK	0x196
			MX8MP_IOMUXC_SD2_CMD__USDHC2_CMD	0x1d6
			MX8MP_IOMUXC_SD2_DATA0__USDHC2_DATA0	0x1d6
			MX8MP_IOMUXC_SD2_DATA1__USDHC2_DATA1	0x1d6
			MX8MP_IOMUXC_SD2_DATA2__USDHC2_DATA2	0x1d6
			MX8MP_IOMUXC_SD2_DATA3__USDHC2_DATA3	0x1d6
			MX8MP_IOMUXC_GPIO1_IO04__USDHC2_VSELECT 0xc1
		>;
	};

	pinctrl_usdhc2_gpio: aristainetos3-usdhc2-gpio-grp {
		fsl,pins = <
			MX8MP_IOMUXC_SD2_CD_B__GPIO2_IO12	0x40000080
		>;
	};

	pinctrl_usdhc2_vmmc: aristainetos3-usdhc2-vmmc-grp {
		fsl,pins = <
			MX8MP_IOMUXC_SD2_RESET_B__GPIO2_IO19	0x41
		>;
	};

	pinctrl_usdhc3: aristainetos3-usdhc3-grp {
		fsl,pins = <
			MX8MP_IOMUXC_NAND_WE_B__USDHC3_CLK	0x190
			MX8MP_IOMUXC_NAND_WP_B__USDHC3_CMD	0x1d0
			MX8MP_IOMUXC_NAND_DATA04__USDHC3_DATA0	0x1d0
			MX8MP_IOMUXC_NAND_DATA05__USDHC3_DATA1	0x1d0
			MX8MP_IOMUXC_NAND_DATA06__USDHC3_DATA2	0x1d0
			MX8MP_IOMUXC_NAND_DATA07__USDHC3_DATA3	0x1d0
			MX8MP_IOMUXC_NAND_RE_B__USDHC3_DATA4	0x1d0
			MX8MP_IOMUXC_NAND_CE2_B__USDHC3_DATA5	0x1d0
			MX8MP_IOMUXC_NAND_CE3_B__USDHC3_DATA6	0x1d0
			MX8MP_IOMUXC_NAND_CLE__USDHC3_DATA7	0x1d0
			MX8MP_IOMUXC_NAND_CE1_B__USDHC3_STROBE	0x190
		>;
	};

	pinctrl_usdhc3_100mhz: aristainetos3-usdhc3-100mhz-grp {
		fsl,pins = <
			MX8MP_IOMUXC_NAND_WE_B__USDHC3_CLK	0x194
			MX8MP_IOMUXC_NAND_WP_B__USDHC3_CMD	0x1d4
			MX8MP_IOMUXC_NAND_DATA04__USDHC3_DATA0	0x1d4
			MX8MP_IOMUXC_NAND_DATA05__USDHC3_DATA1	0x1d4
			MX8MP_IOMUXC_NAND_DATA06__USDHC3_DATA2	0x1d4
			MX8MP_IOMUXC_NAND_DATA07__USDHC3_DATA3	0x1d4
			MX8MP_IOMUXC_NAND_RE_B__USDHC3_DATA4	0x1d4
			MX8MP_IOMUXC_NAND_CE2_B__USDHC3_DATA5	0x1d4
			MX8MP_IOMUXC_NAND_CE3_B__USDHC3_DATA6	0x1d4
			MX8MP_IOMUXC_NAND_CLE__USDHC3_DATA7	0x1d4
			MX8MP_IOMUXC_NAND_CE1_B__USDHC3_STROBE	0x194
		>;
	};

	pinctrl_usdhc3_200mhz: aristainetos3-usdhc3-200mhz-grp {
		fsl,pins = <
			MX8MP_IOMUXC_NAND_WE_B__USDHC3_CLK	0x196
			MX8MP_IOMUXC_NAND_WP_B__USDHC3_CMD	0x1d6
			MX8MP_IOMUXC_NAND_DATA04__USDHC3_DATA0	0x1d6
			MX8MP_IOMUXC_NAND_DATA05__USDHC3_DATA1	0x1d6
			MX8MP_IOMUXC_NAND_DATA06__USDHC3_DATA2	0x1d6
			MX8MP_IOMUXC_NAND_DATA07__USDHC3_DATA3	0x1d6
			MX8MP_IOMUXC_NAND_RE_B__USDHC3_DATA4	0x1d6
			MX8MP_IOMUXC_NAND_CE2_B__USDHC3_DATA5	0x1d6
			MX8MP_IOMUXC_NAND_CE3_B__USDHC3_DATA6	0x1d6
			MX8MP_IOMUXC_NAND_CLE__USDHC3_DATA7	0x1d6
			MX8MP_IOMUXC_NAND_CE1_B__USDHC3_STROBE	0x196
		>;
	};

	pinctrl_watchdog_gpio: aristainetos3-wdog-gpio-grp {
		fsl,pins = <
			MX8MP_IOMUXC_GPIO1_IO06__GPIO1_IO06	0x19
		>;
	};

	pinctrl_wdog: aristainetos3-wdog-grp {
		fsl,pins = <
			MX8MP_IOMUXC_GPIO1_IO02__WDOG1_WDOG_B	0xc6
		>;
	};
};
